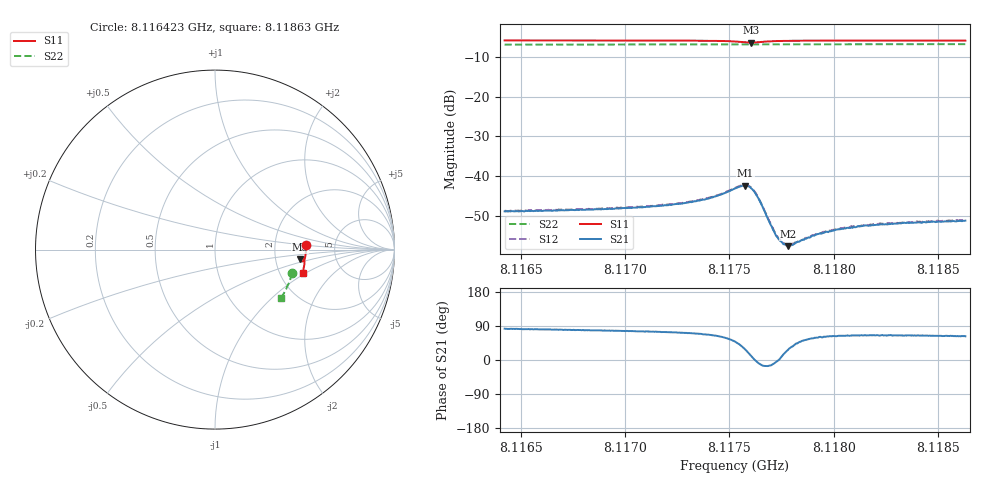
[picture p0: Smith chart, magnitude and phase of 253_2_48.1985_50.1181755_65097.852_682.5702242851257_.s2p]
#  HZ  S  RI  R  50.00
! Rohde & Schwarz Vector Network Analyzer
! Rohde-Schwarz,ZNB20-2Port,1311601062101988,3.16
! Created: UTC 3/20/2024, 11:47:21 AM
! freq[Hz]  re:S11  im:S11  re:S21  im:S21  re:S12  im:S12  re:S22  im:S22
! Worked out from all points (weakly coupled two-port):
!   401 points, 8.116423 GHz to 8.11863 GHz, reference 50 ohm
!   highest |S21| = -42.43 dB at 8.117576 GHz (marker M1); lowest = -57.7 dB at 8.11778 GHz (marker M2)
!   lowest |S11| = -6.4 dB at 8.117604 GHz (marker M3), VSWR 2.82, Z = 138 - j19.5 ohm
!   |S11| at or under -10 dB: nowhere
!   |S22| runs from -6.9 to -6.8 dB; largest |S21 - S12| = 0.00019
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8.1164233e9  0.5061 0.0267  0.000463 0.00356  0.000555 0.0036  0.4301 -0.1305
8.116793e9  0.5062 -0.00136  0.000745 0.00368  0.000776 0.00375  0.4229 -0.1551
8.1171626e9  0.5044 -0.0307  0.00115 0.00404  0.00122 0.00413  0.4143 -0.1793
8.1173777e9  0.5007 -0.05  0.00191 0.00467  0.00197 0.00473  0.4086 -0.1934
8.117455e9  0.4967 -0.0582  0.00272 0.0051  0.00283 0.00516  0.4062 -0.1985
8.1175267e9  0.4876 -0.0652  0.00461 0.00523  0.00472 0.00526  0.4037 -0.2032
8.1175763e9  0.4764 -0.0624  0.00672 0.00347  0.00689 0.00346  0.4019 -0.2058
8.1176039e9  0.4738 -0.0546  0.00689 0.00129  0.00707 0.00122  0.4011 -0.207
8.117626e9  0.4768 -0.0486  0.00596 -0.000217  0.00609 -0.000253  0.4007 -0.2082
8.1176425e9  0.4811 -0.0465  0.00494 -0.000833  0.00501 -0.000891  0.4004 -0.209
8.1177087e9  0.4939 -0.0512  0.00207 -0.000396  0.00214 -0.000461  0.399 -0.2134
8.1177253e9  0.4955 -0.0534  0.00174 -0.00013  0.0018 -0.000187  0.3986 -0.2145
8.1177474e9  0.4968 -0.0564  0.00149 0.000185  0.00149 0.00016  0.3979 -0.216
8.1177694e9  0.4976 -0.0592  0.00126 0.000485  0.00131 0.000501  0.3974 -0.2175
8.1177805e9  0.498 -0.0604  0.00117 0.000588  0.00123 0.000609  0.3971 -0.2181
8.1178025e9  0.4984 -0.063  0.0011 0.000793  0.00113 0.000843  0.3965 -0.2196
8.1178963e9  0.4987 -0.0727  0.000963 0.00149  0.000986 0.0015  0.3934 -0.2257
8.117957e9  0.4984 -0.0782  0.00094 0.00172  0.000971 0.00173  0.3915 -0.2294
8.1180287e9  0.4975 -0.0844  0.000938 0.00192  0.000983 0.00193  0.3891 -0.2338
8.1181501e9  0.4959 -0.0942  0.000993 0.00218  0.00105 0.00214  0.3849 -0.2413
8.1182659e9  0.4942 -0.1034  0.00104 0.00226  0.0011 0.0023  0.3808 -0.2484
8.11863e9  0.4876 -0.1305  0.00126 0.00244  0.00127 0.00246  0.3671 -0.2698
